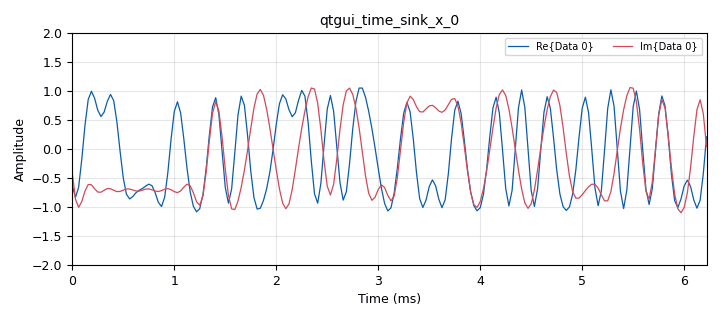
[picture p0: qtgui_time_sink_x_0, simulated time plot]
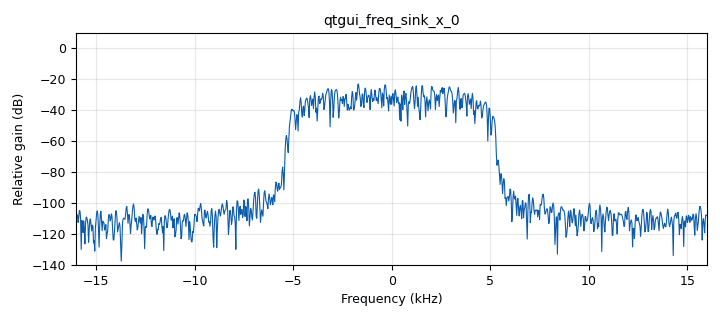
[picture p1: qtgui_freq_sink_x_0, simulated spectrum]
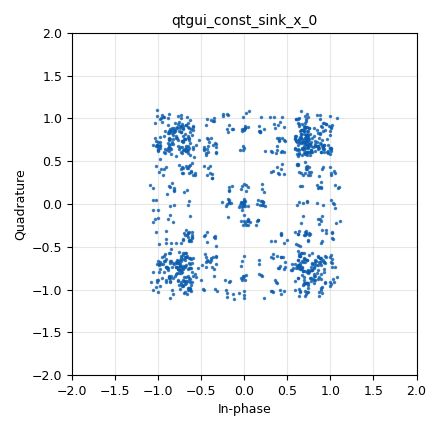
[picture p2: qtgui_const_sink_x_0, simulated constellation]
<?xml version='1.0' encoding='utf-8'?>
<?grc format='1' created='3.7.6'?>
<flow_graph>
<block>
<key>variable</key>
<param><key>id</key><value>sps</value></param>
<param><key>value</key><value>4</value></param>
</block>
<block>
<key>variable</key>
<param><key>id</key><value>taps</value></param>
<param><key>_enabled</key><value>False</value></param>
<param><key>value</key><value>[1.0, 0.25-0.25j, 0.50 + 0.10j, -0.3 + 0.2j]</value></param>
</block>
<block>
<key>variable</key>
<param><key>id</key><value>taps</value></param>
<param><key>value</key><value>[1.0 + 0.0j, ]</value></param>
</block>
<block>
<key>variable</key>
<param><key>id</key><value>excess_bw</value></param>
<param><key>value</key><value>0.35</value></param>
</block>
<block>
<key>variable</key>
<param><key>id</key><value>samp_rate</value></param>
<param><key>value</key><value>32000</value></param>
</block>
<block>
<key>variable</key>
<param><key>id</key><value>arity</value></param>
<param><key>value</key><value>4</value></param>
</block>
<block>
<key>channels_channel_model</key>
<param><key>id</key><value>channels_channel_model_0</value></param>
<param><key>noise_voltage</key><value>noise_volt</value></param>
<param><key>freq_offset</key><value>freq_offset</value></param>
<param><key>epsilon</key><value>time_offset</value></param>
<param><key>taps</key><value>taps</value></param>
<param><key>seed</key><value>0</value></param>
</block>
<block>
<key>qtgui_time_sink_x</key>
<param><key>id</key><value>qtgui_time_sink_x_0</value></param>
<param><key>type</key><value>complex</value></param>
<param><key>name</key><value></value></param>
<param><key>size</key><value>200</value></param>
<param><key>srate</key><value>samp_rate</value></param>
<param><key>ymin</key><value>-2</value></param>
<param><key>ymax</key><value>2</value></param>
<param><key>gui_hint</key><value>1,0,1,2</value></param>
<param><key>label1</key><value></value></param>
<param><key>color1</key><value>"blue"</value></param>
<param><key>label2</key><value></value></param>
<param><key>color2</key><value>"red"</value></param>
</block>
<block>
<key>qtgui_freq_sink_x</key>
<param><key>id</key><value>qtgui_freq_sink_x_0</value></param>
<param><key>type</key><value>complex</value></param>
<param><key>name</key><value></value></param>
<param><key>fftsize</key><value>1024</value></param>
<param><key>wintype</key><value>firdes.WIN_BLACKMAN_hARRIS</value></param>
<param><key>fc</key><value>0</value></param>
<param><key>bw</key><value>samp_rate</value></param>
<param><key>gui_hint</key><value>2,0,1,4</value></param>
<param><key>showports</key><value>True</value></param>
<param><key>width1</key><value>2</value></param>
</block>
<block>
<key>qtgui_const_sink_x</key>
<param><key>id</key><value>qtgui_const_sink_x_0</value></param>
<param><key>type</key><value>complex</value></param>
<param><key>name</key><value></value></param>
<param><key>size</key><value>1024</value></param>
<param><key>gui_hint</key><value>1,2,1,2</value></param>
</block>
<block>
<key>digital_constellation_modulator</key>
<param><key>id</key><value>digital_constellation_modulator_0</value></param>
<param><key>constellation</key><value>qpsk</value></param>
<param><key>differential</key><value>True</value></param>
<param><key>samples_per_symbol</key><value>sps</value></param>
<param><key>excess_bw</key><value>excess_bw</value></param>
</block>
<block>
<key>variable_qtgui_range</key>
<param><key>id</key><value>noise_volt</value></param>
<param><key>label</key><value>Channel: Noise Voltage</value></param>
<param><key>value</key><value>0.0001</value></param>
<param><key>start</key><value>0</value></param>
<param><key>stop</key><value>1</value></param>
<param><key>step</key><value>0.01</value></param>
<param><key>widget</key><value>slider</value></param>
<param><key>orient</key><value>Qt.Horizontal</value></param>
<param><key>gui_hint</key><value>0,0,1,1</value></param>
</block>
<block>
<key>variable_qtgui_range</key>
<param><key>id</key><value>freq_offset</value></param>
<param><key>label</key><value>Channel: Frequency Offset</value></param>
<param><key>value</key><value>0</value></param>
<param><key>start</key><value>-0.1</value></param>
<param><key>stop</key><value>0.1</value></param>
<param><key>step</key><value>0.001</value></param>
<param><key>widget</key><value>slider</value></param>
<param><key>orient</key><value>Qt.Horizontal</value></param>
<param><key>gui_hint</key><value>0,2,1,1</value></param>
</block>
<block>
<key>variable_qtgui_range</key>
<param><key>id</key><value>time_offset</value></param>
<param><key>label</key><value>Channel: Timing Offset</value></param>
<param><key>value</key><value>1.00</value></param>
<param><key>start</key><value>0.999</value></param>
<param><key>stop</key><value>1.001</value></param>
<param><key>step</key><value>0.0001</value></param>
<param><key>widget</key><value>slider</value></param>
<param><key>orient</key><value>Qt.Horizontal</value></param>
<param><key>gui_hint</key><value>0,1,1,1</value></param>
</block>
<block>
<key>blocks_throttle</key>
<param><key>id</key><value>blocks_throttle_0</value></param>
<param><key>type</key><value>complex</value></param>
<param><key>samples_per_second</key><value>samp_rate</value></param>
</block>
<block>
<key>analog_random_source_x</key>
<param><key>id</key><value>analog_random_source_x_0</value></param>
<param><key>type</key><value>byte</value></param>
<param><key>min</key><value>0</value></param>
<param><key>max</key><value>256</value></param>
<param><key>num_samps</key><value>10000</value></param>
<param><key>repeat</key><value>True</value></param>
</block>
<block>
<key>variable_constellation_rect</key>
<param><key>id</key><value>qpsk</value></param>
<param><key>sym_map</key><value>[0, 1, 2, 3]</value></param>
<param><key>const_points</key><value>[0.707+0.707j, -0.707+0.707j, -0.707-0.707j, 0.707-0.707j]</value></param>
<param><key>rot_sym</key><value>4</value></param>
<param><key>real_sect</key><value>2</value></param>
<param><key>imag_sect</key><value>2</value></param>
<param><key>w_real_sect</key><value>1</value></param>
<param><key>w_imag_sect</key><value>1</value></param>
<param><key>softbits_lut</key><value>None</value></param>
</block>
<block>
<key>options</key>
<param><key>id</key><value>mpsk_stage2</value></param>
<param><key>generate_options</key><value>qt_gui</value></param>
<param><key>category</key><value>Custom</value></param>
</block>
<connection><source_block_id>channels_channel_model_0</source_block_id><sink_block_id>qtgui_time_sink_x_0</sink_block_id><source_key>0</source_key><sink_key>0</sink_key></connection>
<connection><source_block_id>channels_channel_model_0</source_block_id><sink_block_id>qtgui_const_sink_x_0</sink_block_id><source_key>0</source_key><sink_key>0</sink_key></connection>
<connection><source_block_id>channels_channel_model_0</source_block_id><sink_block_id>qtgui_freq_sink_x_0</sink_block_id><source_key>0</source_key><sink_key>0</sink_key></connection>
<connection><source_block_id>blocks_throttle_0</source_block_id><sink_block_id>channels_channel_model_0</sink_block_id><source_key>0</source_key><sink_key>0</sink_key></connection>
<connection><source_block_id>digital_constellation_modulator_0</source_block_id><sink_block_id>blocks_throttle_0</sink_block_id><source_key>0</source_key><sink_key>0</sink_key></connection>
<connection><source_block_id>analog_random_source_x_0</source_block_id><sink_block_id>digital_constellation_modulator_0</sink_block_id><source_key>0</source_key><sink_key>0</sink_key></connection>
</flow_graph>
